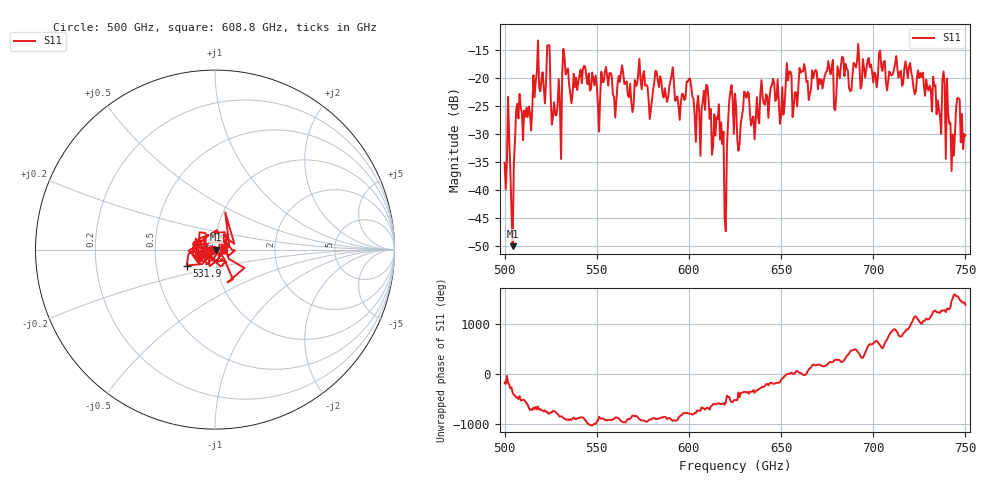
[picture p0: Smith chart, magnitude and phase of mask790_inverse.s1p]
!Created with skrf (http://scikit-rf.org).
# GHz S MA R 50.0
!freq magS11 angS11
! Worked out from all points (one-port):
!   401 points, 500 GHz to 750 GHz, reference 50 ohm
!   lowest |S11| = -50.0 dB at 504.4 GHz (marker M1), VSWR 1.01, Z = 50.3 - j0.0623 ohm
!   |S11| at or under -10 dB: start of sweep to end of sweep
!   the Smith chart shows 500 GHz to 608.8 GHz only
!   S11 on the Smith chart (normalised r, x): 500 GHz: 0.97, -0.01; 531.9 GHz: 0.72, -0.13; 608.8 GHz: 1.11, +0.03
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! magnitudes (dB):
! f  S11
! 500 GHz  -35.1
! 501.9 GHz  -23.4
! 504.4 GHz  -50.0
! 507.5 GHz  -27.2
! 513.8 GHz  -26.3
! 516.9 GHz  -20.8
! 523.8 GHz  -14.2
! 526.9 GHz  -24.4
! 531.2 GHz  -19.4
! 531.9 GHz  -14.9
! 556.2 GHz  -21.4
! 560 GHz  -27.1
! 562.5 GHz  -20.8
! 579.4 GHz  -25.5
! 590.6 GHz  -19.5
! 593.8 GHz  -23.3
! 600 GHz  -20.2
! 605 GHz  -23.2
! 608.8 GHz  -25.7
! 617.5 GHz  -27.9
! 619.4 GHz  -45.0
! 622.5 GHz  -22.5
! 625 GHz  -22.8
! 656.2 GHz  -27.0
! 687.5 GHz  -22.4
! 690.6 GHz  -18.2
! 718.8 GHz  -20.1
! 750 GHz  -30.3
